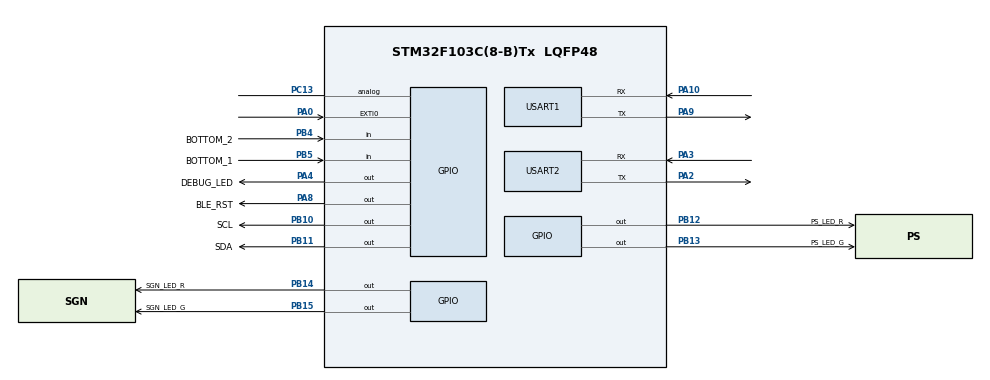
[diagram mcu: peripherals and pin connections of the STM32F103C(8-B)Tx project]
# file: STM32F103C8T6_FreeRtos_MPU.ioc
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FREERTOS.Tasks01=Fall_Task,0,128,Start_Fall_Task,Default;Read_IIC_Task,-3,128,Start_Read_IIC,Default;UART_Task,-3,128,Start_UART_Task,Default
Mcu.Family=STM32F1
Mcu.Name=STM32F103C(8-B)Tx
Mcu.Package=LQFP48
NVIC.PriorityGroup=NVIC_PRIORITYGROUP_4
NVIC.USART1_IRQn=true\:5\:0\:false\:false\:true\:true
NVIC.USART2_IRQn=true\:5\:0\:false\:false\:true\:true
PA0-WKUP.Signal=GPXTI0
PA10.Mode=Asynchronous
PA10.Signal=USART1_RX
PA13.Mode=Serial_Wire
PA13.Signal=SYS_JTMS-SWDIO
PA14.Mode=Serial_Wire
PA14.Signal=SYS_JTCK-SWCLK
PA2.Mode=Asynchronous
PA2.Signal=USART2_TX
PA3.Mode=Asynchronous
PA3.Signal=USART2_RX
PA4.GPIO_Label=DEBUG_LED
PA4.Signal=GPIO_Output
PA8.GPIO_Label=BLE_RST
PA8.Signal=GPIO_Output
PA9.Mode=Asynchronous
PA9.Signal=USART1_TX
PB10.GPIO_Label=SCL
PB10.GPIO_ModeDefaultOutputPP=GPIO_MODE_OUTPUT_OD
PB10.Signal=GPIO_Output
PB11.GPIO_Label=SDA
PB11.GPIO_ModeDefaultOutputPP=GPIO_MODE_OUTPUT_OD
PB11.Signal=GPIO_Output
PB12.GPIO_Label=PS_LED_R
PB12.Signal=GPIO_Output
PB13.GPIO_Label=PS_LED_G
PB13.Signal=GPIO_Output
PB14.GPIO_Label=SGN_LED_R
PB14.Signal=GPIO_Output
PB15.GPIO_Label=SGN_LED_G
PB15.Signal=GPIO_Output
PB4.GPIO_Label=BOTTOM_2
PB4.Signal=GPIO_Input
PB5.GPIO_Label=BOTTOM_1
PB5.Signal=GPIO_Input
PC13-TAMPER-RTC.Signal=GPIO_Analog
ProjectManager.HeapSize=0x200
ProjectManager.StackSize=0x400
ProjectManager.TargetToolchain=MDK-ARM V5
RCC.APB1Freq_Value=8000000
RCC.APB2Freq_Value=8000000
VP_FREERTOS_VS_ENABLE.Mode=Enabled
board=STM32F103C8T6_FreeRtos_MPU

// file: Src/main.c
/**
  ******************************************************************************
  * File Name          : main.c
  * Description        : Main program body
  ******************************************************************************
  *
  * COPYRIGHT(c) 2016 STMicroelectronics
  *
  * Redistribution and use in source and binary forms, with or without modification,
  * are permitted provided that the following conditions are met:
  *   1. Redistributions of source code must retain the above copyright notice,
  *      this list of conditions and the following disclaimer.
  *   2. Redistributions in binary form must reproduce the above copyright notice,
  *      this list of conditions and the following disclaimer in the documentation
  *      and/or other materials provided with the distribution.
  *   3. Neither the name of STMicroelectronics nor the names of its contributors
  *      may be used to endorse or promote products derived from this software
  *      without specific prior written permission.
  *
  * THIS SOFTWARE IS PROVIDED BY THE COPYRIGHT HOLDERS AND CONTRIBUTORS "AS IS"
  * AND ANY EXPRESS OR IMPLIED WARRANTIES, INCLUDING, BUT NOT LIMITED TO, THE
  * IMPLIED WARRANTIES OF MERCHANTABILITY AND FITNESS FOR A PARTICULAR PURPOSE ARE
  * DISCLAIMED. IN NO EVENT SHALL THE COPYRIGHT HOLDER OR CONTRIBUTORS BE LIABLE
  * FOR ANY DIRECT, INDIRECT, INCIDENTAL, SPECIAL, EXEMPLARY, OR CONSEQUENTIAL
  * DAMAGES (INCLUDING, BUT NOT LIMITED TO, PROCUREMENT OF SUBSTITUTE GOODS OR
  * SERVICES; LOSS OF USE, DATA, OR PROFITS; OR BUSINESS INTERRUPTION) HOWEVER
  * CAUSED AND ON ANY THEORY OF LIABILITY, WHETHER IN CONTRACT, STRICT LIABILITY,
  * OR TORT (INCLUDING NEGLIGENCE OR OTHERWISE) ARISING IN ANY WAY OUT OF THE USE
  * OF THIS SOFTWARE, EVEN IF ADVISED OF THE POSSIBILITY OF SUCH DAMAGE.
  *
  ******************************************************************************
  */
#include "stm32f1xx_hal.h"
#include "cmsis_os.h"
#include "usart.h"
#include "gpio.h"

/* USER CODE BEGIN Includes */
//GitHub Test
#include "main.h"
#ifdef __GNUC__
  /* With GCC/RAISONANCE, small printf (option LD Linker->Libraries->Small printf
     set to 'Yes') calls __io_putchar() */
  #define PUTCHAR_PROTOTYPE int __io_putchar(int ch)
#else
  #define PUTCHAR_PROTOTYPE int fputc(int ch, FILE *f)
#endif /* __GNUC__ */
/* USER CODE END Includes */

/* USER CODE BEGIN PV */
/* Private variables ---------------------------------------------------------*/
	struct UART_Interface_s BlueTooth_Uart;
  struct UART_Interface_s Zigbee_Uart;
/* USER CODE END PV */

void SystemClock_Config(void);
void Error_Handler(void);
void MX_FREERTOS_Init(void);

/* USER CODE BEGIN PFP */
/* Private function prototypes -----------------------------------------------*/

/* USER CODE END PFP */

/* USER CODE BEGIN 0 */
static void UART1_Write_Array(uint8_t * SendData,volatile uint16_t DataLeng);
static void UART2_Write_Array(uint8_t * SendData,volatile uint16_t DataLeng);
/* USER CODE END 0 */

int main(void)
{

  /* MCU Configuration----------------------------------------------------------*/

  /* Reset of all peripherals, Initializes the Flash interface and the Systick. */
  HAL_Init();

  /* Configure the system clock */
  SystemClock_Config();

  /* Initialize all configured peripherals */
  MX_GPIO_Init();
  MX_USART1_UART_Init();
  MX_USART2_UART_Init();

  /* Call init function for freertos objects (in freertos.c) */
  MX_FREERTOS_Init();

  /* Start scheduler */
  osKernelStart();

  /* We should never get here as control is now taken by the scheduler */

  /* Infinite loop */
  while (1)
  {

  }

}

/** System Clock Configuration
*/
void SystemClock_Config(void)
{

  RCC_OscInitTypeDef RCC_OscInitStruct;
  RCC_ClkInitTypeDef RCC_ClkInitStruct;

  RCC_OscInitStruct.OscillatorType = RCC_OSCILLATORTYPE_HSI;
  RCC_OscInitStruct.HSIState = RCC_HSI_ON;
  RCC_OscInitStruct.HSICalibrationValue = 16;
  RCC_OscInitStruct.PLL.PLLState = RCC_PLL_NONE;
  if (HAL_RCC_OscConfig(&RCC_OscInitStruct) != HAL_OK)
  {
    Error_Handler();
  }

  RCC_ClkInitStruct.ClockType = RCC_CLOCKTYPE_HCLK|RCC_CLOCKTYPE_SYSCLK
                              |RCC_CLOCKTYPE_PCLK1|RCC_CLOCKTYPE_PCLK2;
  RCC_ClkInitStruct.SYSCLKSource = RCC_SYSCLKSOURCE_HSI;
  RCC_ClkInitStruct.AHBCLKDivider = RCC_SYSCLK_DIV1;
  RCC_ClkInitStruct.APB1CLKDivider = RCC_HCLK_DIV1;
  RCC_ClkInitStruct.APB2CLKDivider = RCC_HCLK_DIV1;
  if (HAL_RCC_ClockConfig(&RCC_ClkInitStruct, FLASH_LATENCY_0) != HAL_OK)
  {
    Error_Handler();
  }

  HAL_SYSTICK_Config(HAL_RCC_GetHCLKFreq()/1000);

  HAL_SYSTICK_CLKSourceConfig(SYSTICK_CLKSOURCE_HCLK);

  /* SysTick_IRQn interrupt configuration */
  HAL_NVIC_SetPriority(SysTick_IRQn, 15, 0);
}

/* USER CODE BEGIN 4 */

uint8_t UART_IS_IDLE(uint32_t Timeout_ms)
{
  uint32_t tickstart = 0;
  tickstart = HAL_GetTick();
  if(tickstart < Timeout_ms)
  {
    return 0;
  }
  return 1;
}

/* USART1 init function */
static void UART1_Write_Array(uint8_t * SendData,volatile uint16_t DataLeng)
{
	uint16_t LengCount = 0;
	if(DataLeng == 0)
	{
		while(*(SendData+LengCount)!=0){LengCount++;}
		while(HAL_UART_Transmit(&huart1, SendData, LengCount, (uint32_t)22000)!=HAL_OK){}
	}else
	{
		while(HAL_UART_Transmit(&huart1, SendData, DataLeng, (uint32_t)22000)!=HAL_OK){}
	}
}

/* USART2 init function */
static void UART2_Write_Array(uint8_t * SendData,volatile uint16_t DataLeng)
{
	uint16_t LengCount = 0;
	if(DataLeng == 0)
	{
		while(*(SendData+LengCount)!=0){LengCount++;}
		while(HAL_UART_Transmit(&huart2, SendData, LengCount, (uint32_t)22000)!=HAL_OK){}
	}else
	{
		while(HAL_UART_Transmit(&huart2, SendData, DataLeng, (uint32_t)22000)!=HAL_OK){}
	}
}

void HAL_UART_RxCpltCallback(UART_HandleTypeDef *huart)
{

  if(huart->Instance == USART1)
  {
    /* Set transmission flag: trasfer complete*/
    if(BlueTooth_Uart.RX_leng >= UART_RX_SIZE)
    {
      BlueTooth_Uart.RX_leng = 0;
    }
    BlueTooth_Uart.RX_Buffer[BlueTooth_Uart.RX_leng++] = BlueTooth_Uart.RX_TEMP[0];
    BlueTooth_Uart.RX_Buffer[BlueTooth_Uart.RX_leng] = 0;
    HAL_UART_Receive_IT(BlueTooth_Uart.uart_handle,&BlueTooth_Uart.RX_TEMP[0],1);
    BlueTooth_Uart.RX_Idle = HAL_GetTick() + 10;
  }
  if(huart->Instance == USART2)
  {
		//Zigbee_Uart.Sender((uint8_t*)"*",0);
    /* Set transmission flag: trasfer complete*/
    if(Zigbee_Uart.RX_leng >= UART_RX_SIZE)
    {
      Zigbee_Uart.RX_leng = 0;
    }
    Zigbee_Uart.RX_Buffer[Zigbee_Uart.RX_leng++] = Zigbee_Uart.RX_TEMP[0];
    Zigbee_Uart.RX_Buffer[Zigbee_Uart.RX_leng] = 0;
    HAL_UART_Receive_IT(Zigbee_Uart.uart_handle,&Zigbee_Uart.RX_TEMP[0],1);
    Zigbee_Uart.RX_Idle = HAL_GetTick() + 10;
  }

}
/* USER CODE END 4 */

void Error_Handler(void)
{
  while(1)
  {
  }
}

/************************ (C) COPYRIGHT STMicroelectronics *****END OF FILE****/

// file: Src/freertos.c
/**
  ******************************************************************************
  * File Name          : freertos.c
  * Description        : Code for freertos applications
  ******************************************************************************
  *
  * COPYRIGHT(c) 2016 STMicroelectronics
  *
  * Redistribution and use in source and binary forms, with or without modification,
  * are permitted provided that the following conditions are met:
  *   1. Redistributions of source code must retain the above copyright notice,
  *      this list of conditions and the following disclaimer.
  *   2. Redistributions in binary form must reproduce the above copyright notice,
  *      this list of conditions and the following disclaimer in the documentation
  *      and/or other materials provided with the distribution.
  *   3. Neither the name of STMicroelectronics nor the names of its contributors
  *      may be used to endorse or promote products derived from this software
  *      without specific prior written permission.
  *
  * THIS SOFTWARE IS PROVIDED BY THE COPYRIGHT HOLDERS AND CONTRIBUTORS "AS IS"
  * AND ANY EXPRESS OR IMPLIED WARRANTIES, INCLUDING, BUT NOT LIMITED TO, THE
  * IMPLIED WARRANTIES OF MERCHANTABILITY AND FITNESS FOR A PARTICULAR PURPOSE ARE
  * DISCLAIMED. IN NO EVENT SHALL THE COPYRIGHT HOLDER OR CONTRIBUTORS BE LIABLE
  * FOR ANY DIRECT, INDIRECT, INCIDENTAL, SPECIAL, EXEMPLARY, OR CONSEQUENTIAL
  * DAMAGES (INCLUDING, BUT NOT LIMITED TO, PROCUREMENT OF SUBSTITUTE GOODS OR
  * SERVICES; LOSS OF USE, DATA, OR PROFITS; OR BUSINESS INTERRUPTION) HOWEVER
  * CAUSED AND ON ANY THEORY OF LIABILITY, WHETHER IN CONTRACT, STRICT LIABILITY,
  * OR TORT (INCLUDING NEGLIGENCE OR OTHERWISE) ARISING IN ANY WAY OUT OF THE USE
  * OF THIS SOFTWARE, EVEN IF ADVISED OF THE POSSIBILITY OF SUCH DAMAGE.
  *
  ******************************************************************************
  */

#include "FreeRTOS.h"
#include "task.h"
#include "cmsis_os.h"

/* USER CODE BEGIN Includes */
#include "stm32f1xx_hal.h"
#include "cmsis_os.h"
#include "i2c.h"
#include "usart.h"
#include "gpio.h"
#include "delay.h"
#include <math.h>
#include "main.h"
/* USER CODE END Includes */

osThreadId Fall_TaskHandle;
osThreadId Read_IIC_TaskHandle;
osThreadId UART_TaskHandle;

/* USER CODE BEGIN Variables */
	float pitch,roll,yaw; 		//歐拉角
	short aacx,aacy,aacz;		//加速度傳感器原始數據
	short gyrox,gyroy,gyroz;	//陀螺儀原始數據
	short temp;					//溫度
	int s;

#define Kp 100.0f                        // 比例增益支配率收?到加速度?/磁??
#define Ki 0.002f                // ?分增益支配率的陀螺?偏?的?接
#define halfT 0.001f                // 采?周期的一半
#define AVG_VAL 5
float q0 = 1, q1 = 0, q2 = 0, q3 = 0;          // 四元?的元素，代表估?方向
float exInt = 0, eyInt = 0, ezInt = 0;        // 按比例?小?分?差
float Yaw,Pitch,Roll;  //偏航角，俯仰角，翻?角
float ACCEL_XOUT; //x軸加速度值暫存
float ACCEL_YOUT; //y軸加速度值暫存
float ACCEL_ZOUT; //z軸加速度值暫存
float GYRO_XOUT;  //x軸陀螺儀值暫存
float GYRO_YOUT;  //y軸陀螺儀值暫存
float GYRO_ZOUT;  //z軸陀螺儀值暫存
uint8_t Post_Enable;
uint8_t Falls_count=0;
uint8_t Falls_status=0;
uint32_t SF=22000;
uint32_t SW=10000;
uint32_t ST=30;
uint32_t SC=30;
uint32_t SA=75;
uint32_t FC=87;
uint32_t FS=78;
	int test_map=0;
	long  ACCEL_ARRAY[AVG_VAL]={0};
	long  GYRO_ARRAY[AVG_VAL]={0};
	long ACCEL_AVG;
	long GYRO_AVG;
	long ACCEL_AVG_OK;
	long GYRO_AVG_OK;
		char TX_TEMP[100]={0x00};
extern volatile struct UART_Interface_s BlueTooth_Uart;
extern volatile struct UART_Interface_s Zigbee_Uart;

/* USER CODE END Variables */

void Start_Fall_Task(void const * argument);
void Start_Read_IIC(void const * argument);
void Start_UART_Task(void const * argument);

void MX_FREERTOS_Init(void); /* (MISRA C 2004 rule 8.1) */

/* USER CODE BEGIN FunctionPrototypes */
uint8_t UART_IS_IDLE(uint32_t Timeout_ms);

int my_Atoi(uint8_t * s,int size){
	 int count=0;
	 int sun=0;
	 for(count=0;count<size;count++){
		//sun=sun+(s[count]-0x30)*(10^(size-count));
		 sun=sun+(s[count]-0x30)*(pow(10,(size-count-1)));
	 }
		return sun;
 }

void HAL_GPIO_LED(GPIO_TypeDef* GPIOx, uint16_t Led_no, char LedState){
	  /* Check the parameters */

if(Led_no==1){
		if(LedState == 'G')
		{
			HAL_GPIO_WritePin(GPIOx, PS_LED_G_Pin ,GPIO_PIN_RESET);
			HAL_GPIO_WritePin(GPIOx, PS_LED_R_Pin ,GPIO_PIN_SET);
		}
		else if(LedState == 'N')
		{
			HAL_GPIO_WritePin(GPIOx, PS_LED_G_Pin ,GPIO_PIN_SET);
			HAL_GPIO_WritePin(GPIOx, PS_LED_R_Pin ,GPIO_PIN_SET);

		}else if(LedState =='R')
		{
			HAL_GPIO_WritePin(GPIOx, PS_LED_G_Pin ,GPIO_PIN_SET);
			HAL_GPIO_WritePin(GPIOx, PS_LED_R_Pin ,GPIO_PIN_RESET);
		}
	}else if(Led_no==2){
			if(LedState == 'G')
		{
			HAL_GPIO_WritePin(GPIOx, SGN_LED_G_Pin ,GPIO_PIN_RESET);
			HAL_GPIO_WritePin(GPIOx, SGN_LED_R_Pin ,GPIO_PIN_SET);
		}
		else if(LedState == 'N')
		{
			HAL_GPIO_WritePin(GPIOx, SGN_LED_G_Pin ,GPIO_PIN_SET);
			HAL_GPIO_WritePin(GPIOx, SGN_LED_R_Pin ,GPIO_PIN_SET);
		}else if(LedState =='R')
		{
			HAL_GPIO_WritePin(GPIOx, SGN_LED_G_Pin ,GPIO_PIN_SET);
			HAL_GPIO_WritePin(GPIOx, SGN_LED_R_Pin ,GPIO_PIN_RESET);
		}
	}
}
/* USER CODE END FunctionPrototypes */

/* Hook prototypes */

/* Init FreeRTOS */

void MX_FREERTOS_Init(void) {

  /* Create the thread(s) */
  /* definition and creation of Fall_Task */
  osThreadDef(Fall_Task, Start_Fall_Task, osPriorityNormal, 0, 128);
  Fall_TaskHandle = osThreadCreate(osThread(Fall_Task), NULL);

  /* definition and creation of Read_IIC_Task */
  osThreadDef(Read_IIC_Task, Start_Read_IIC, osPriorityIdle, 0, 128);
  Read_IIC_TaskHandle = osThreadCreate(osThread(Read_IIC_Task), NULL);

  /* definition and creation of UART_Task */
  osThreadDef(UART_Task, Start_UART_Task, osPriorityIdle, 0, 128);
  UART_TaskHandle = osThreadCreate(osThread(UART_Task), NULL);

}

/* Start_Fall_Task function */
void Start_Fall_Task(void const * argument)
{

  /* USER CODE BEGIN Start_Fall_Task */
  /* Infinite loop */
	 uint16_t TIME_OUT=30*100;
	uint16_t TIMER=0;
	uint16_t SCORE=500;
	uint16_t WARNING=ST-20;
  for(;;)
  {
   		if(HAL_GPIO_ReadPin(GPIOB,BOTTOM_1_Pin)==GPIO_PIN_RESET){
			osDelay(5);
		}
		if(HAL_GPIO_ReadPin(GPIOB,BOTTOM_2_Pin)==GPIO_PIN_RESET){
			HAL_GPIO_WritePin(GPIOB, PS_LED_G_Pin ,GPIO_PIN_SET);
			osDelay(100);
			HAL_GPIO_WritePin(GPIOB, PS_LED_G_Pin ,GPIO_PIN_RESET);
		  osDelay(100);
		}

		osDelay(5);
		if(FS==1){
			if(WARNING>1){
			WARNING--;
			//osDelay(1);
			}else{
				sprintf(TX_TEMP,"@BT+FS=%d#",FS);
			  BlueTooth_Uart.Sender((uint8_t*)TX_TEMP,0);
				WARNING=ST;
			}
			HAL_GPIO_WritePin(GPIOB, SGN_LED_R_Pin ,GPIO_PIN_SET);
			osDelay(100);
			HAL_GPIO_WritePin(GPIOB, SGN_LED_R_Pin ,GPIO_PIN_RESET);
		  osDelay(100);
		}else{
			HAL_GPIO_WritePin(GPIOB, PS_LED_R_Pin ,GPIO_PIN_SET);
			osDelay(100);
			HAL_GPIO_WritePin(GPIOB, PS_LED_R_Pin ,GPIO_PIN_RESET);
		  osDelay(100);
		}
		if(ACCEL_AVG_OK>=SF){
			SCORE=500;
	    HAL_GPIO_WritePin(GPIOB, PS_LED_R_Pin ,GPIO_PIN_SET);
		  HAL_GPIO_WritePin(GPIOB, PS_LED_G_Pin ,GPIO_PIN_SET);
			while(TIMER<TIME_OUT){
				osDelay(1);
				if(SCORE>1000){
					FS=1;
				break;
				}
				if(GYRO_AVG_OK<=500){//停止
				SCORE++;
				}else if(GYRO_AVG_OK>500&&(GYRO_AVG_OK<=1500)){//移動
				if(SCORE>0){
					SCORE--;
				}
				}else if(GYRO_AVG_OK>1500){//衝擊
					SCORE=0;
					FS=0;
					break;
			}
		}
     //osDelay(1000);
		}else{
			HAL_GPIO_LED(GPIOB,1,'N');
		}
  }
  /* USER CODE END Start_Fall_Task */
}

/* Start_Read_IIC function */
void Start_Read_IIC(void const * argument)
{
  /* USER CODE BEGIN Start_Read_IIC */
	MPU_Init();
  /* Infinite loop */
  for(;;)
  {
		  temp=MPU_Get_Temperature();	//得到溫度值
			MPU_Get_Accelerometer(&aacx,&aacy,&aacz);	//得到加速度傳感器數據
			MPU_Get_Gyroscope(&gyrox,&gyroy,&gyroz);	//得到陀螺儀數據
			ACCEL_XOUT=aacx; //x軸加速度值暫存
			ACCEL_YOUT=aacy; //y軸加速度值暫存
			ACCEL_ZOUT=aacz; //z軸加速度值暫存
			GYRO_XOUT=gyrox;  //x軸陀螺儀值暫存
			GYRO_YOUT=gyroy;  //y軸陀螺儀值暫存
			GYRO_ZOUT=gyroz;  //z軸陀螺儀值暫存
	  	ACCEL_AVG_OK=sqrt(ACCEL_XOUT*ACCEL_XOUT+ACCEL_YOUT*ACCEL_YOUT+ACCEL_ZOUT*ACCEL_ZOUT)*10;
	   osDelay(1);
	   GYRO_AVG_OK=sqrt(GYRO_XOUT*GYRO_XOUT+GYRO_YOUT*GYRO_YOUT+GYRO_ZOUT*GYRO_ZOUT);
		 osDelay(1);
  }
  /* USER CODE END Start_Read_IIC */
}

/* Start_UART_Task function */
void Start_UART_Task(void const * argument)
{
  /* USER CODE BEGIN Start_UART_Task */

/*
BlueTooth_Uart.Sender((uint8_t*)"OK",0);
//strcmp(A,B)==0;
strcpy(pString + 1, Buffer1);包含NULL結尾)
memcpy(pString + 1, Buffer2, 3);不包含NULL結尾)
*/
	uint8_t BUFF_SCAN_FLAG=0;
	uint8_t BUFF_CMD_FLAG=0;
	uint8_t S_FLAG=0; //@
	uint8_t PLUS_FLAG=0;  //+
	uint8_t EQUAL_FLAG=0;  //=
  uint8_t COMMA_FLAG=0;  //,
	uint8_t E_FLAG=0;  //#
  uint8_t ASK_FLAG=0;  //?
	uint8_t ERR_FLAG=0;
	char TEMP[50]={0x00};

	char CMD_DEVICE[10]={0x00};
	char CMD_ACTION[10]={0x00};
	char CMD_VAL_1[9]={0x00};
	int INT_VAL_1=0;
  char CMD_VAL_2[9]={0x00};
	//BlueTooth_Uart.Sender((uint8_t*)"SYS OK!",0);
  for(;;)
  {

		//HAL_GPIO_WritePin(GPIOC, LD3_Pin, GPIO_PIN_RESET);
    if(BlueTooth_Uart.RX_leng > 0)
    {
		//HAL_GPIO_WritePin(GPIOC, LD3_Pin, GPIO_PIN_SET);

      if(UART_IS_IDLE(BlueTooth_Uart.RX_Idle))
      {
				BUFF_SCAN_FLAG=0;
				S_FLAG=0xFF; //@
				PLUS_FLAG=0xFF;  //+
	      EQUAL_FLAG=0xFF;  //=
        COMMA_FLAG=0xFF;  //,
				E_FLAG=0xFF;  //#
				ASK_FLAG=0xFF;//?
				 while(BUFF_SCAN_FLAG<BlueTooth_Uart.RX_leng+1){
					 osDelay(1);
					 if(BlueTooth_Uart.RX_Buffer[BUFF_SCAN_FLAG]=='@' ) {
							S_FLAG=BUFF_SCAN_FLAG;
					  }
					  else if(BlueTooth_Uart.RX_Buffer[BUFF_SCAN_FLAG]=='+' ) {
							PLUS_FLAG=BUFF_SCAN_FLAG;
						}
						 else if(BlueTooth_Uart.RX_Buffer[BUFF_SCAN_FLAG]=='=' ) {
							EQUAL_FLAG=BUFF_SCAN_FLAG;
						}
						  else if(BlueTooth_Uart.RX_Buffer[BUFF_SCAN_FLAG]=='#' ) {
							E_FLAG=BUFF_SCAN_FLAG;
						}
							else if(BlueTooth_Uart.RX_Buffer[BUFF_SCAN_FLAG]==',' ) {
							COMMA_FLAG=BUFF_SCAN_FLAG;
						}else if(BlueTooth_Uart.RX_Buffer[BUFF_SCAN_FLAG]=='?' ) {
							ASK_FLAG=BUFF_SCAN_FLAG;
						}
							else if(S_FLAG!=0xFF&&E_FLAG!=0xFF){
							BUFF_CMD_FLAG=0;
							for(int COUNT=S_FLAG+1;COUNT<PLUS_FLAG;COUNT++){
								CMD_DEVICE[BUFF_CMD_FLAG]=BlueTooth_Uart.RX_Buffer[COUNT];
								CMD_DEVICE[BUFF_CMD_FLAG+1]=0x00;
								BUFF_CMD_FLAG++;
							}
							BUFF_CMD_FLAG=0;
							for(int COUNT=PLUS_FLAG+1;COUNT<EQUAL_FLAG;COUNT++){
								CMD_ACTION[BUFF_CMD_FLAG]=BlueTooth_Uart.RX_Buffer[COUNT];
								CMD_ACTION[BUFF_CMD_FLAG+1]=0x00;
								BUFF_CMD_FLAG++;
							}
							if(COMMA_FLAG!=0xFF){
								BUFF_CMD_FLAG=0;
								for(int COUNT=EQUAL_FLAG+1;COUNT<COMMA_FLAG;COUNT++){
										CMD_VAL_1[BUFF_CMD_FLAG]=BlueTooth_Uart.RX_Buffer[COUNT];
										CMD_VAL_1[BUFF_CMD_FLAG+1]=0x00;
										BUFF_CMD_FLAG++;
									}
								BUFF_CMD_FLAG=0;
								for(int COUNT=COMMA_FLAG+1;COUNT<E_FLAG;COUNT++){
										CMD_VAL_2[BUFF_CMD_FLAG]=BlueTooth_Uart.RX_Buffer[COUNT];
										CMD_VAL_2[BUFF_CMD_FLAG+1]=0x00;
										BUFF_CMD_FLAG++;
									}
								}else{
										BUFF_CMD_FLAG=0;
										for(int COUNT=EQUAL_FLAG+1;COUNT<E_FLAG;COUNT++){
										CMD_VAL_1[BUFF_CMD_FLAG]=BlueTooth_Uart.RX_Buffer[COUNT];
										CMD_VAL_1[BUFF_CMD_FLAG+1]=0x00;
										BUFF_CMD_FLAG++;
									}
								}
						}else{
						//BlueTooth_Uart.Sender((uint8_t*)"@BT+CMD=ERR#",0);
						}
						BUFF_SCAN_FLAG++;
				 }
				 BlueTooth_Uart.RX_leng=0;
      }
    }else{

		}

    if(Zigbee_Uart.RX_leng > 0)
    {
     if(UART_IS_IDLE(Zigbee_Uart.RX_Idle))
      {
    }
  }
		osDelay(1);
		if(strcmp(CMD_DEVICE,"BT")==0){
			if(strcmp(CMD_ACTION,"SF")==0){
				if(ASK_FLAG!=0xFF){
					sprintf(TX_TEMP,"@%s+%s=%d#",CMD_DEVICE,CMD_ACTION,SF);
			    BlueTooth_Uart.Sender((uint8_t*)TX_TEMP,0);
				}else{
					sprintf(TX_TEMP,"@%s+%s=%s#",CMD_DEVICE,CMD_ACTION,"OK");
			    BlueTooth_Uart.Sender((uint8_t*)TX_TEMP,0);
				  SF=my_Atoi((uint8_t *)CMD_VAL_1,strlen(CMD_VAL_1));
				}
			}else if(strcmp(CMD_ACTION,"SW")==0){
					if(ASK_FLAG!=0xFF){
					sprintf(TX_TEMP,"@%s+%s=%d#",CMD_DEVICE,CMD_ACTION,SW);
			    BlueTooth_Uart.Sender((uint8_t*)TX_TEMP,0);
				}else{
					sprintf(TX_TEMP,"@%s+%s=%s#",CMD_DEVICE,CMD_ACTION,"OK");
			    BlueTooth_Uart.Sender((uint8_t*)TX_TEMP,0);
				  SW=my_Atoi((uint8_t *)CMD_VAL_1,strlen(CMD_VAL_1));
				}
			}else if(strcmp(CMD_ACTION,"SC")==0){
					if(ASK_FLAG!=0xFF){
					sprintf(TX_TEMP,"@%s+%s=%d#",CMD_DEVICE,CMD_ACTION,SC);
			    BlueTooth_Uart.Sender((uint8_t*)TX_TEMP,0);
				}else{
					sprintf(TX_TEMP,"@%s+%s=%s#",CMD_DEVICE,CMD_ACTION,"OK");
			    BlueTooth_Uart.Sender((uint8_t*)TX_TEMP,0);
				  SC=my_Atoi((uint8_t *)CMD_VAL_1,strlen(CMD_VAL_1));
				}
			}else if(strcmp(CMD_ACTION,"ST")==0){
					if(ASK_FLAG!=0xFF){
					sprintf(TX_TEMP,"@%s+%s=%d#",CMD_DEVICE,CMD_ACTION,ST);
			    BlueTooth_Uart.Sender((uint8_t*)TX_TEMP,0);
				}else{
					sprintf(TX_TEMP,"@%s+%s=%s#",CMD_DEVICE,CMD_ACTION,"OK");
			    BlueTooth_Uart.Sender((uint8_t*)TX_TEMP,0);
				  ST=my_Atoi((uint8_t *)CMD_VAL_1,strlen(CMD_VAL_1));
				}
			}else if(strcmp(CMD_ACTION,"SA")==0){
					if(ASK_FLAG!=0xFF){
					sprintf(TX_TEMP,"@%s+%s=%d#",CMD_DEVICE,CMD_ACTION,SA);
			    BlueTooth_Uart.Sender((uint8_t*)TX_TEMP,0);
				}else{
					sprintf(TX_TEMP,"@%s+%s=%s#",CMD_DEVICE,CMD_ACTION,"OK");
			    BlueTooth_Uart.Sender((uint8_t*)TX_TEMP,0);
				  SA=my_Atoi((uint8_t *)CMD_VAL_1,strlen(CMD_VAL_1));
				}
			}else if(strcmp(CMD_ACTION,"FS")==0){
					if(ASK_FLAG!=0xFF){
					sprintf(TX_TEMP,"@%s+%s=%d#",CMD_DEVICE,CMD_ACTION,FS);
			    BlueTooth_Uart.Sender((uint8_t*)TX_TEMP,0);
				}else{
					sprintf(TX_TEMP,"@%s+%s=%s#",CMD_DEVICE,CMD_ACTION,"ERROR");
			    BlueTooth_Uart.Sender((uint8_t*)TX_TEMP,0);
				  FS=my_Atoi((uint8_t *)CMD_VAL_1,strlen(CMD_VAL_1));
				}
			}else if(strcmp(CMD_ACTION,"FC")==0){
					if(ASK_FLAG!=0xFF){
					sprintf(TX_TEMP,"@%s+%s=%d#",CMD_DEVICE,CMD_ACTION,FC);
			    BlueTooth_Uart.Sender((uint8_t*)TX_TEMP,0);
				}else{
					sprintf(TX_TEMP,"@%s+%s=%s#",CMD_DEVICE,CMD_ACTION,"ERROR");
			    BlueTooth_Uart.Sender((uint8_t*)TX_TEMP,0);
				  FC=my_Atoi((uint8_t *)CMD_VAL_1,strlen(CMD_VAL_1));
				}
			}else if(strcmp(CMD_ACTION,"GS")==0){
					if(ASK_FLAG!=0xFF){
						/*
						float ACCEL_XOUT; //x軸加速度值暫存
						float ACCEL_YOUT; //y軸加速度值暫存
						float ACCEL_ZOUT; //z軸加速度值暫存
						float GYRO_XOUT;  //x軸陀螺儀值暫存
						float GYRO_YOUT;  //y軸陀螺儀值暫存
						float GYRO_ZOUT;  //z軸陀螺儀值暫存
						*/
					sprintf(TX_TEMP,"@%s+%s=%f,%f,%f,%f,%f,%f,0,0,0#",CMD_DEVICE,CMD_ACTION,ACCEL_XOUT,ACCEL_YOUT,ACCEL_ZOUT,GYRO_XOUT,GYRO_YOUT,GYRO_ZOUT);
			    BlueTooth_Uart.Sender((uint8_t*)TX_TEMP,0);
				}else{
					sprintf(TX_TEMP,"@%s+%s=%s#",CMD_DEVICE,CMD_ACTION,"ERROR");
			    BlueTooth_Uart.Sender((uint8_t*)TX_TEMP,0);
				  FC=my_Atoi((uint8_t *)CMD_VAL_1,strlen(CMD_VAL_1));
				}
			}
			CMD_DEVICE[0]=0;
		}else if(strcmp(CMD_DEVICE,"ZB")==0){
						if(strcmp(CMD_ACTION,"SF")==0){
				if(ASK_FLAG!=0xFF){
					sprintf(TX_TEMP,"@%s+%s=%d#",CMD_DEVICE,CMD_ACTION,SF);
			    BlueTooth_Uart.Sender((uint8_t*)TX_TEMP,0);
				}else{
					sprintf(TX_TEMP,"@%s+%s=%s#",CMD_DEVICE,CMD_ACTION,"OK");
			    BlueTooth_Uart.Sender((uint8_t*)TX_TEMP,0);
				  SF=my_Atoi((uint8_t *)CMD_VAL_1,strlen(CMD_VAL_1));
				}
			}else if(strcmp(CMD_ACTION,"SW")==0){
					if(ASK_FLAG!=0xFF){
					sprintf(TX_TEMP,"@%s+%s=%d#",CMD_DEVICE,CMD_ACTION,SW);
			    BlueTooth_Uart.Sender((uint8_t*)TX_TEMP,0);
				}else{
					sprintf(TX_TEMP,"@%s+%s=%s#",CMD_DEVICE,CMD_ACTION,"OK");
			    BlueTooth_Uart.Sender((uint8_t*)TX_TEMP,0);
				  SW=my_Atoi((uint8_t *)CMD_VAL_1,strlen(CMD_VAL_1));
				}
			}else if(strcmp(CMD_ACTION,"SC")==0){
					if(ASK_FLAG!=0xFF){
					sprintf(TX_TEMP,"@%s+%s=%d#",CMD_DEVICE,CMD_ACTION,SC);
			    BlueTooth_Uart.Sender((uint8_t*)TX_TEMP,0);
				}else{
					sprintf(TX_TEMP,"@%s+%s=%s#",CMD_DEVICE,CMD_ACTION,"OK");
			    BlueTooth_Uart.Sender((uint8_t*)TX_TEMP,0);
				  SC=my_Atoi((uint8_t *)CMD_VAL_1,strlen(CMD_VAL_1));
				}
			}else if(strcmp(CMD_ACTION,"ST")==0){
					if(ASK_FLAG!=0xFF){
					sprintf(TX_TEMP,"@%s+%s=%d#",CMD_DEVICE,CMD_ACTION,ST);
			    BlueTooth_Uart.Sender((uint8_t*)TX_TEMP,0);
				}else{
					sprintf(TX_TEMP,"@%s+%s=%s#",CMD_DEVICE,CMD_ACTION,"OK");
			    BlueTooth_Uart.Sender((uint8_t*)TX_TEMP,0);
				  ST=my_Atoi((uint8_t *)CMD_VAL_1,strlen(CMD_VAL_1));
				}
			}else if(strcmp(CMD_ACTION,"SA")==0){
					if(ASK_FLAG!=0xFF){
					sprintf(TX_TEMP,"@%s+%s=%d#",CMD_DEVICE,CMD_ACTION,SA);
			    BlueTooth_Uart.Sender((uint8_t*)TX_TEMP,0);
				}else{
					sprintf(TX_TEMP,"@%s+%s=%s#",CMD_DEVICE,CMD_ACTION,"OK");
			    BlueTooth_Uart.Sender((uint8_t*)TX_TEMP,0);
				  SA=my_Atoi((uint8_t *)CMD_VAL_1,strlen(CMD_VAL_1));
				}
			}else if(strcmp(CMD_ACTION,"FS")==0){
					if(ASK_FLAG!=0xFF){
					sprintf(TX_TEMP,"@%s+%s=%d#",CMD_DEVICE,CMD_ACTION,FS);
			    BlueTooth_Uart.Sender((uint8_t*)TX_TEMP,0);
				}else{
					sprintf(TX_TEMP,"@%s+%s=%s#",CMD_DEVICE,CMD_ACTION,"ERROR");
			    BlueTooth_Uart.Sender((uint8_t*)TX_TEMP,0);
				  FS=my_Atoi((uint8_t *)CMD_VAL_1,strlen(CMD_VAL_1));
				}
			}else if(strcmp(CMD_ACTION,"FC")==0){
					if(ASK_FLAG!=0xFF){
					sprintf(TX_TEMP,"@%s+%s=%d#",CMD_DEVICE,CMD_ACTION,FC);
			    BlueTooth_Uart.Sender((uint8_t*)TX_TEMP,0);
				}else{
					sprintf(TX_TEMP,"@%s+%s=%s#",CMD_DEVICE,CMD_ACTION,"ERROR");
			    BlueTooth_Uart.Sender((uint8_t*)TX_TEMP,0);
				  FC=my_Atoi((uint8_t *)CMD_VAL_1,strlen(CMD_VAL_1));
				}
			}
			CMD_DEVICE[0]=0;
		}
		/*
		if(strcmp(CMD_TEMP,"BT+GG")==0){
		  BlueTooth_Uart.Sender((uint8_t*)"*",0);
			CMD_TEMP[1]=0x00;
			osDelay(2);
		}else if(strcmp(CMD_TEMP,"BT+SF=?")==0){
			BlueTooth_Uart.Sender((uint8_t*)"@BT+SF=",0);
			sprintf(TX_TEMP,"%2d",SF);
			BlueTooth_Uart.Sender((uint8_t*)TX_TEMP,0);
			BlueTooth_Uart.Sender((uint8_t*)"#",0);
			CMD_TEMP[1]=0x00;
		}else if(strcmp(CMD_TEMP,"BT+SW=?")==0){
			BlueTooth_Uart.Sender((uint8_t*)"@BT+SW=",0);
			sprintf(TX_TEMP,"%2d",SW);
			BlueTooth_Uart.Sender((uint8_t*)TX_TEMP,0);
			BlueTooth_Uart.Sender((uint8_t*)"#",0);
			CMD_TEMP[1]=0x00;
		}else if(strcmp(CMD_TEMP,"BT+SC=?")==0){
			BlueTooth_Uart.Sender((uint8_t*)"@BT+SC=",0);
			sprintf(TX_TEMP,"%2d",SC);
			BlueTooth_Uart.Sender((uint8_t*)TX_TEMP,0);
			BlueTooth_Uart.Sender((uint8_t*)"#",0);
			CMD_TEMP[1]=0x00;
		}else if(strcmp(CMD_TEMP,"BT+ST=?")==0){
			BlueTooth_Uart.Sender((uint8_t*)"@BT+ST=",0);
			sprintf(TX_TEMP,"%2d",ST);
			BlueTooth_Uart.Sender((uint8_t*)TX_TEMP,0);
			BlueTooth_Uart.Sender((uint8_t*)"#",0);
			CMD_TEMP[1]=0x00;
		}else if(strcmp(CMD_TEMP,"BT+SA=?")==0){
			BlueTooth_Uart.Sender((uint8_t*)"@BT+SA=",0);
			sprintf(TX_TEMP,"%2d",SA);
			BlueTooth_Uart.Sender((uint8_t*)TX_TEMP,0);
			BlueTooth_Uart.Sender((uint8_t*)"#",0);
			CMD_TEMP[1]=0x00;
		}else if(strcmp(CMD_TEMP,"BT+GS=?")==0){
			BlueTooth_Uart.Sender((uint8_t*)"@BT+GS=",0);
			sprintf(TX_TEMP,"%0.0f,%0.0f,%0.0f,",ACCEL_XOUT,ACCEL_YOUT,ACCEL_ZOUT);
			BlueTooth_Uart.Sender((uint8_t*)TX_TEMP,0);
			sprintf(TX_TEMP,"%0.0f,%0.0f,%0.0f",GYRO_XOUT,GYRO_YOUT,GYRO_ZOUT);
			BlueTooth_Uart.Sender((uint8_t*)TX_TEMP,0);
			BlueTooth_Uart.Sender((uint8_t*)"#",0);
			CMD_TEMP[1]=0x00;
		}else if(strcmp(CMD_TEMP,"BT+TS=?")==0){
			BlueTooth_Uart.Sender((uint8_t*)"@BT+TS=",0);
			sprintf(TX_TEMP,"%2d",ACCEL_AVG_OK);
			BlueTooth_Uart.Sender((uint8_t*)TX_TEMP,0);
			BlueTooth_Uart.Sender((uint8_t*)"#",0);
			CMD_TEMP[1]=0x00;
		}
		*/

		osDelay(10);
  }
  /* USER CODE END Start_UART_Task */
}

/************************ (C) COPYRIGHT STMicroelectronics *****END OF FILE****/
